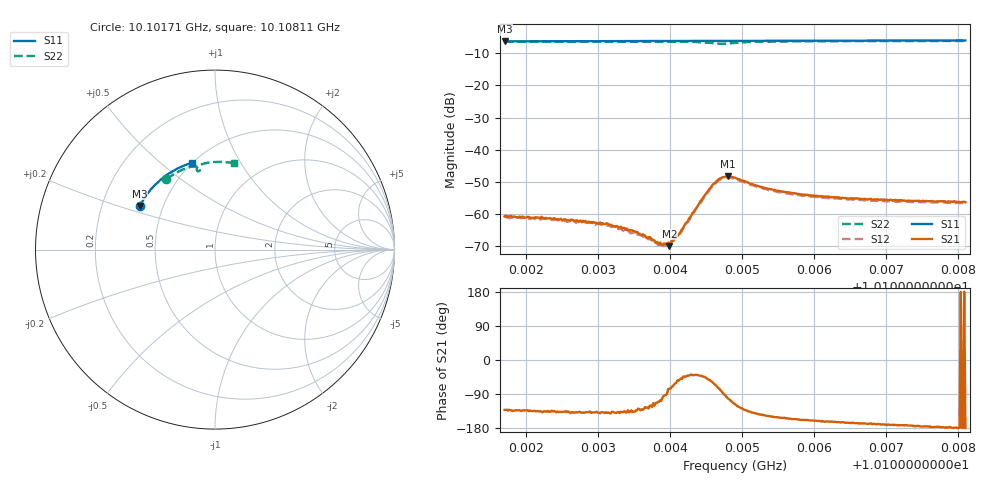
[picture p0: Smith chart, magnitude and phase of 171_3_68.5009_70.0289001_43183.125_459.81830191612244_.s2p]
#  HZ  S  RI  R  50.00
! Rohde & Schwarz Vector Network Analyzer
! Rohde-Schwarz,ZNB20-2Port,1311601062101988,3.16
! Created: UTC 3/20/2024, 4:56:12 PM
! freq[Hz]  re:S11  im:S11  re:S21  im:S21  re:S12  im:S12  re:S22  im:S22
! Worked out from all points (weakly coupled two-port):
!   401 points, 10.10171 GHz to 10.10811 GHz, reference 50 ohm
!   highest |S21| = -48.28 dB at 10.10481 GHz (marker M1); lowest = -69.9 dB at 10.10399 GHz (marker M2)
!   lowest |S11| = -6.3 dB at 10.10171 GHz (marker M3), VSWR 2.88, Z = 18.5 + j11.7 ohm
!   |S11| at or under -10 dB: nowhere
!   |S22| runs from -7.0 to -6.1 dB; largest |S21 - S12| = 0.0004
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1.0101707e10  -0.4189 0.2426  -0.00061 -0.000688  -0.000546 -0.000715  -0.2703 0.3927
1.0102251e10  -0.403 0.2715  -0.000613 -0.000604  -0.000543 -0.000649  -0.2412 0.413
1.0102779e10  -0.3855 0.2985  -0.000563 -0.000488  -0.000496 -0.000551  -0.2113 0.4306
1.0103131e10  -0.3729 0.3159  -0.000547 -0.00047  -0.000447 -0.000484  -0.1903 0.4414
1.0103339e10  -0.365 0.3259  -0.000439 -0.0004  -0.00038 -0.000412  -0.1774 0.4471
1.0103643e10  -0.3531 0.34  -0.000296 -0.000369  -0.00025 -0.000363  -0.1575 0.4547
1.0103851e10  -0.3447 0.3493  -0.000119 -0.000321  -7.23e-05 -0.000327  -0.143 0.4591
1.0103915e10  -0.3421 0.3521  -3.33e-05 -0.000346  -2.85e-05 -0.000316  -0.1386 0.4603
1.0103947e10  -0.3406 0.3535  -1.7e-05 -0.000331  3.78e-05 -0.000322  -0.136 0.4608
1.0103995e10  -0.3386 0.3556  7.64e-05 -0.000311  0.000101 -0.000342  -0.1324 0.4617
1.0104027e10  -0.3373 0.357  0.000127 -0.000361  0.000154 -0.000343  -0.1298 0.462
1.0104139e10  -0.3325 0.3619  0.000311 -0.000386  0.000347 -0.000371  -0.121 0.4633
1.0104443e10  -0.3192 0.3746  0.00123 -0.00111  0.00123 -0.00096  -0.0938 0.4585
1.0104586e10  -0.3128 0.3805  0.00148 -0.00233  0.0016 -0.0021  -0.0849 0.4468
1.0104698e10  -0.3077 0.3849  0.000703 -0.00352  0.000938 -0.0033  -0.0889 0.4368
1.010481e10  -0.3025 0.3892  -0.000796 -0.00377  -0.000409 -0.00366  -0.0991 0.4384
1.0104906e10  -0.2982 0.393  -0.00167 -0.00328  -0.00132 -0.00326  -0.1019 0.4475
1.0105162e10  -0.2863 0.4029  -0.00218 -0.00186  -0.00194 -0.002  -0.089 0.4672
1.0105386e10  -0.2753 0.4111  -0.0021 -0.0013  -0.00186 -0.00139  -0.0723 0.4756
1.0105978e10  -0.2457 0.431  -0.0018 -0.000678  -0.00168 -0.000803  -0.0306 0.4854
1.010705e10  -0.1885 0.4617  -0.00163 -0.000263  -0.00154 -0.0004  0.0404 0.4885
1.0108106e10  -0.1286 0.4838  -0.00153 -1.14e-05  -0.00147 -0.000152  0.1081 0.4808
